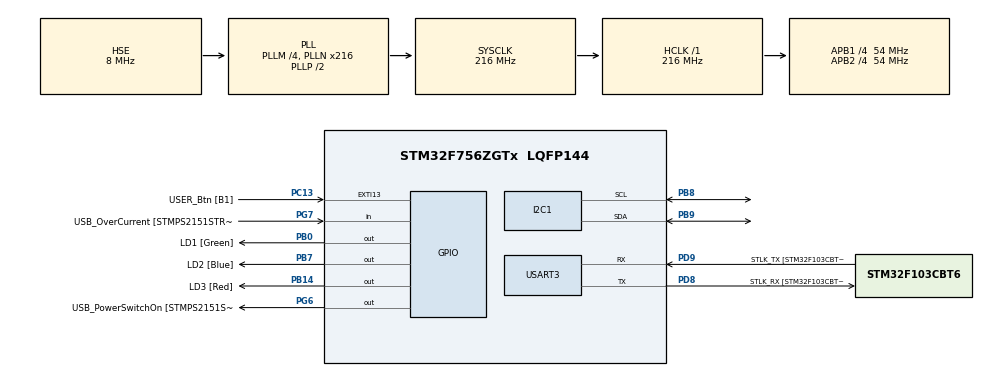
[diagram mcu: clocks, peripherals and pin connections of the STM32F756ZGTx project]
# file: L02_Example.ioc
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I2C1.Timing=0x20404768
Mcu.Family=STM32F7
Mcu.Name=STM32F756ZGTx
Mcu.Package=LQFP144
NVIC.PriorityGroup=NVIC_PRIORITYGROUP_4
NVIC.USART3_IRQn=true\:0\:0\:false\:false\:true\:true\:true\:true
PA1.GPIO_Label=RMII_REF_CLK [LAN8742A-CZ-TR_REFCLK0]
PA1.Signal=ETH_REF_CLK
PA10.GPIO_Label=USB_ID
PA10.Signal=USB_OTG_FS_ID
PA11.GPIO_Label=USB_DM
PA11.Signal=USB_OTG_FS_DM
PA12.GPIO_Label=USB_DP
PA12.Signal=USB_OTG_FS_DP
PA13.GPIO_Label=TMS
PA13.Mode=Serial_Wire
PA13.Signal=SYS_JTMS-SWDIO
PA14.GPIO_Label=TCK
PA14.Mode=Serial_Wire
PA14.Signal=SYS_JTCK-SWCLK
PA2.GPIO_Label=RMII_MDIO [LAN8742A-CZ-TR_MDIO]
PA2.Signal=ETH_MDIO
PA7.GPIO_Label=RMII_CRS_DV [LAN8742A-CZ-TR_CRS_DV]
PA7.Signal=ETH_CRS_DV
PA8.GPIO_Label=USB_SOF [TP1]
PA8.Signal=USB_OTG_FS_SOF
PA9.GPIO_Label=USB_VBUS
PA9.Signal=USB_OTG_FS_VBUS
PB0.GPIO_Label=LD1 [Green]
PB0.Signal=GPIO_Output
PB13.GPIO_Label=RMII_TXD1 [LAN8742A-CZ-TR_TXD1]
PB13.Signal=ETH_TXD1
PB14.GPIO_Label=LD3 [Red]
PB14.Signal=GPIO_Output
PB3.GPIO_Label=SW0
PB3.Signal=SYS_JTDO-SWO
PB7.GPIO_Label=LD2 [Blue]
PB7.Signal=GPIO_Output
PB8.Mode=I2C
PB8.Signal=I2C1_SCL
PB9.Mode=I2C
PB9.Signal=I2C1_SDA
PC1.GPIO_Label=RMII_MDC [LAN8742A-CZ-TR_MDC]
PC1.Signal=ETH_MDC
PC13.GPIO_Label=USER_Btn [B1]
PC13.Signal=GPXTI13
PC14/OSC32_IN.Mode=LSE-External-Oscillator
PC14/OSC32_IN.Signal=RCC_OSC32_IN
PC15/OSC32_OUT.Mode=LSE-External-Oscillator
PC15/OSC32_OUT.Signal=RCC_OSC32_OUT
PC4.GPIO_Label=RMII_RXD0 [LAN8742A-CZ-TR_RXD0]
PC4.Signal=ETH_RXD0
PC5.GPIO_Label=RMII_RXD1 [LAN8742A-CZ-TR_RXD1]
PC5.Signal=ETH_RXD1
PD8.GPIO_Label=STLK_RX [STM32F103CBT6_PA3]
PD8.Mode=Asynchronous
PD8.Signal=USART3_TX
PD9.GPIO_Label=STLK_TX [STM32F103CBT6_PA2]
PD9.Mode=Asynchronous
PD9.Signal=USART3_RX
PG11.GPIO_Label=RMII_TX_EN [LAN8742A-CZ-TR_TXEN]
PG11.Signal=ETH_TX_EN
PG13.GPIO_Label=RMII_TXD0 [LAN8742A-CZ-TR_TXD0]
PG13.Signal=ETH_TXD0
PG6.GPIO_Label=USB_PowerSwitchOn [STMPS2151STR_EN]
PG6.Signal=GPIO_Output
PG7.GPIO_Label=USB_OverCurrent [STMPS2151STR_FAULT]
PG7.Signal=GPIO_Input
PH0/OSC_IN.GPIO_Label=MCO [STM32F103CBT6_PA8]
PH0/OSC_IN.Mode=HSE-External-Clock-Source
PH0/OSC_IN.Signal=RCC_OSC_IN
PH1/OSC_OUT.Mode=HSE-External-Clock-Source
PH1/OSC_OUT.Signal=RCC_OSC_OUT
ProjectManager.HeapSize=0x200
ProjectManager.StackSize=0x400
ProjectManager.TargetToolchain=STM32CubeIDE
RCC.48MHZClocksFreq_Value=24000000
RCC.AHBFreq_Value=216000000
RCC.APB1CLKDivider=RCC_HCLK_DIV4
RCC.APB1Freq_Value=54000000
RCC.APB1TimFreq_Value=108000000
RCC.APB2CLKDivider=RCC_HCLK_DIV4
RCC.APB2Freq_Value=54000000
RCC.APB2TimFreq_Value=108000000
RCC.CortexFreq_Value=216000000
RCC.HCLKFreq_Value=216000000
RCC.HSE_VALUE=8000000
RCC.HSI_VALUE=16000000
RCC.PLLM=4
RCC.PLLMUL=RCC_PLL_MUL9
RCC.PLLN=216
RCC.PLLQ=3
RCC.PLLSourceVirtual=RCC_PLLSOURCE_HSE
RCC.PRESCALERUSB=RCC_USBCLKSOURCE_PLL_DIV1_5
RCC.SYSCLKFreq_VALUE=216000000
RCC.SYSCLKSource=RCC_SYSCLKSOURCE_PLLCLK
RCC.SYSCLKSourceVirtual=RCC_SYSCLKSOURCE_PLLCLK
RCC.USBFreq_Value=144000000
RCC.VCOOutputFreq_Value=432000000
USART3.VirtualMode-Asynchronous=VM_ASYNC
board=NUCLEO-F756ZG

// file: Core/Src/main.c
/* USER CODE BEGIN Header */
/**
  ******************************************************************************
  * @file           : main.c
  * @brief          : Main program body
  ******************************************************************************
  * @attention
  *
  * Copyright (c) 2025 STMicroelectronics.
  * All rights reserved.
  *
  * This software is licensed under terms that can be found in the LICENSE file
  * in the root directory of this software component.
  * If no LICENSE file comes with this software, it is provided AS-IS.
  *
  ******************************************************************************
  */
/* USER CODE END Header */
#include "main.h"
#include "i2c.h"
#include "usart.h"
#include "gpio.h"

/* USER CODE BEGIN Includes */
#include <stdio.h>
#include <string.h>
#include <stdlib.h>
#include "led_dio_config.h"
#include "jsmn.h"
/* USER CODE END Includes */

void SystemClock_Config(void);

/* USER CODE BEGIN 0 */
/**
 * @brief  Low-level implementation of the _write system call.
 *
 * This function redirects standard output (e.g., printf) to UART3.
 * It transmits data from the provided buffer over the UART interface.
 *
 * @param[in]  file File descriptor (ignored in this implementation).
 * @param[in]  ptr  Pointer to the data buffer to be transmitted.
 * @param[in]  len  Number of bytes to transmit.
 *
 * @retval Number of bytes transmitted on success.
 * @retval -1 on transmission error.
 *
 * @note This function is typically used when retargeting printf() to UART.
 *       It blocks until all bytes are sent (uses HAL_MAX_DELAY).
 */
int _write(int file, char *ptr, int len)
{
  return (HAL_UART_Transmit(&huart3, (uint8_t*)ptr, len, HAL_MAX_DELAY) == HAL_OK) ? len : -1;
}

/**
 * @brief  Low-level implementation of the _read system call.
 *
 * This function redirects standard input (e.g., scanf) to UART3.
 * It receives data into the provided buffer from the UART interface.
 *
 * @param[in]  file File descriptor (ignored in this implementation).
 * @param[out] ptr  Pointer to the data buffer where received bytes will be stored.
 * @param[in]  len  Maximum number of bytes to read.
 *
 * @retval Number of bytes received on success.
 * @retval -1 on reception error.
 *
 * @note This function blocks until the specified number of bytes is received.
 *       It is typically used when retargeting scanf() to UART.
 */
int _read(int file, char *ptr, int len)
{
  return (HAL_UART_Receive(&huart3, (uint8_t*)ptr, len, HAL_MAX_DELAY) == HAL_OK) ? len : -1;
}

/**
 * @brief Read and validate command in the format "LDxy"
 *
 * @param[in] str    : Input C-string (must be null-terminated)
 * @param[out] led   : Double pointer to LED_DIO_Handle_TypeDef
 * @param[out] state : Pointer to LED_DIO_State_TypeDef
 * @return true if valid format and values, false otherwise
 */
_Bool UART_ParseCmd(const char *json, LED_DIO_Handle_TypeDef **hled, LED_DIO_State_TypeDef *state)
{
  if(!json)
    return 0;

  jsmn_parser parser;
  jsmntok_t tokens[128]; // Adjust size depending on expected input complexity
  jsmn_init(&parser);

  int token_count = jsmn_parse(&parser, json, strlen(json), tokens, sizeof(tokens)/sizeof(tokens[0]));
  if(token_count < 1 || tokens[0].type != JSMN_ARRAY)
    return 0;

  size_t led_index = 0;

  // Iterate over array elements
  for(int i = 1; i < token_count && led_index < 3; )
  {
    if(tokens[i].type != JSMN_OBJECT)
    {
      i++;
      continue;
    }

    int object_size = tokens[i].size * 2; // Each key-value pair = 2 tokens
    int end = i + object_size + 1;

    int led_val = -1;
    _Bool state_val = 0;
    _Bool led_found = 0, state_found = 0;

    // Process each key-value pair
    for(int j = i + 1; j < end; j += 2)
    {
      jsmntok_t key = tokens[j];
      jsmntok_t val = tokens[j + 1];

      // Extract key string
      int key_len = key.end - key.start;
      const char *key_str = json + key.start;

      if(strncmp(key_str, "id", key_len) == 0 && val.type == JSMN_STRING)
      {
        if(strncmp(json + val.start, "LD", 2) == 0)
        {
          led_val = atoi(json + val.start + 2);
          if (led_val >= 1 && led_val <= 3)
            led_found = 1;
        }
      }
      else if(strncmp(key_str, "state", key_len) == 0 && val.type == JSMN_PRIMITIVE)
      {
        if(strncmp(json + val.start, "true", 4) == 0 || atoi(json + val.start) == 1)
          state_val = 1;
        else if (strncmp(json + val.start, "false", 5) == 0 || atoi(json + val.start) == 0)
          state_val = 0;
        else
          return 0; // Invalid value
        state_found = 1;
      }
    }

    if(led_found && state_found)
    {
      switch(led_val)
      {
      case 1:
        hled[led_index] = &hld1;
        break;
      case 2:
        hled[led_index] = &hld2;
        break;
      case 3:
        hled[led_index] = &hld3;
        break;
      default: break;
      }
      state[led_index] = state_val;
      led_index++;
    }
    i = end;
  }
  return 1;
}

/* USER CODE END 0 */

int main(void)
{

  /* USER CODE BEGIN 1 */
  setvbuf(stdin, NULL, _IONBF, 0);
  /* USER CODE END 1 */

  /* MCU Configuration--------------------------------------------------------*/

  /* Reset of all peripherals, Initializes the Flash interface and the Systick. */
  HAL_Init();

  /* Configure the system clock */
  SystemClock_Config();

  /* Initialize all configured peripherals */
  MX_GPIO_Init();
  MX_I2C1_Init();
  MX_USART3_UART_Init();
  /* USER CODE BEGIN 2 */
  puts("Hello, Nucleo!");
  /* USER CODE END 2 */

  /* Infinite loop */
  /* USER CODE BEGIN WHILE */
  while (1)
  {
    char json_str[128];
    scanf("%s", json_str);
    LED_DIO_Handle_TypeDef *hled[3] = { NULL, };
    LED_DIO_State_TypeDef state[3];
    if(UART_ParseCmd(json_str, hled, state))
    {
      for(int i = 0; hled[i] != NULL && i < 3; i++)
      {
        LED_DIO_Write(hled[i], state[i]);
        printf("LD%i is %s\n", LED_GET_ID(hled[i]), LED_DIO_Read(hled[i]) ? "On" : "Off" );
      }
    }
    /* USER CODE END WHILE */

  }
}

void SystemClock_Config(void)
{
  RCC_OscInitTypeDef RCC_OscInitStruct = {0};
  RCC_ClkInitTypeDef RCC_ClkInitStruct = {0};

  /** Configure LSE Drive Capability
  */
  HAL_PWR_EnableBkUpAccess();

  /** Configure the main internal regulator output voltage
  */
  __HAL_RCC_PWR_CLK_ENABLE();
  __HAL_PWR_VOLTAGESCALING_CONFIG(PWR_REGULATOR_VOLTAGE_SCALE1);

  /** Initializes the RCC Oscillators according to the specified parameters
  * in the RCC_OscInitTypeDef structure.
  */
  RCC_OscInitStruct.OscillatorType = RCC_OSCILLATORTYPE_HSE;
  RCC_OscInitStruct.HSEState = RCC_HSE_BYPASS;
  RCC_OscInitStruct.PLL.PLLState = RCC_PLL_ON;
  RCC_OscInitStruct.PLL.PLLSource = RCC_PLLSOURCE_HSE;
  RCC_OscInitStruct.PLL.PLLM = 4;
  RCC_OscInitStruct.PLL.PLLN = 216;
  RCC_OscInitStruct.PLL.PLLP = RCC_PLLP_DIV2;
  RCC_OscInitStruct.PLL.PLLQ = 3;
  if (HAL_RCC_OscConfig(&RCC_OscInitStruct) != HAL_OK)
  {
    Error_Handler();
  }

  /** Activate the Over-Drive mode
  */
  if (HAL_PWREx_EnableOverDrive() != HAL_OK)
  {
    Error_Handler();
  }

  /** Initializes the CPU, AHB and APB buses clocks
  */
  RCC_ClkInitStruct.ClockType = RCC_CLOCKTYPE_HCLK|RCC_CLOCKTYPE_SYSCLK
                              |RCC_CLOCKTYPE_PCLK1|RCC_CLOCKTYPE_PCLK2;
  RCC_ClkInitStruct.SYSCLKSource = RCC_SYSCLKSOURCE_PLLCLK;
  RCC_ClkInitStruct.AHBCLKDivider = RCC_SYSCLK_DIV1;
  RCC_ClkInitStruct.APB1CLKDivider = RCC_HCLK_DIV4;
  RCC_ClkInitStruct.APB2CLKDivider = RCC_HCLK_DIV4;

  if (HAL_RCC_ClockConfig(&RCC_ClkInitStruct, FLASH_LATENCY_7) != HAL_OK)
  {
    Error_Handler();
  }
}

void Error_Handler(void)
{
  __disable_irq();
  while (1)
  {
  }
}
